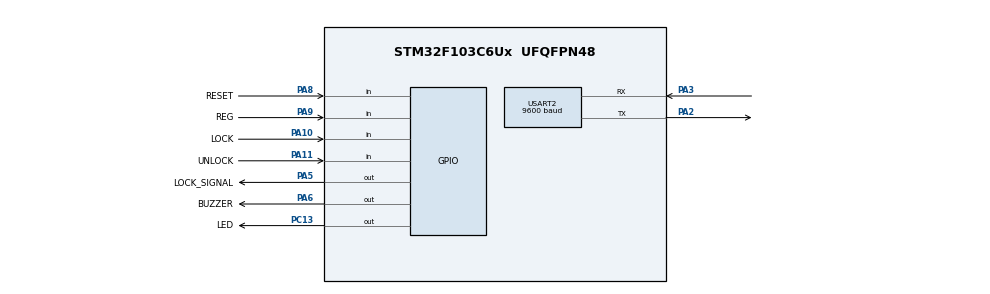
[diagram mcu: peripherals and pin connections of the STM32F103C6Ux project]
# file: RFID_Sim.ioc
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Mcu.Family=STM32F1
Mcu.Name=STM32F103C6Ux
Mcu.Package=UFQFPN48
NVIC.PriorityGroup=NVIC_PRIORITYGROUP_4
NVIC.TIM2_IRQn=true\:0\:0\:false\:false\:true\:true\:true\:true
NVIC.USART2_IRQn=true\:0\:0\:false\:false\:true\:true\:true\:true
PA10.GPIO_Label=LOCK
PA10.GPIO_PuPd=GPIO_PULLUP
PA10.Signal=GPIO_Input
PA11.GPIO_Label=UNLOCK
PA11.GPIO_PuPd=GPIO_PULLUP
PA11.Signal=GPIO_Input
PA2.Mode=Asynchronous
PA2.Signal=USART2_TX
PA3.Mode=Asynchronous
PA3.Signal=USART2_RX
PA5.GPIO_Label=LOCK_SIGNAL
PA5.GPIO_PuPd=GPIO_PULLDOWN
PA5.Signal=GPIO_Output
PA6.GPIO_Label=BUZZER
PA6.GPIO_PuPd=GPIO_NOPULL
PA6.Signal=GPIO_Output
PA8.GPIO_Label=RESET
PA8.GPIO_PuPd=GPIO_PULLUP
PA8.Signal=GPIO_Input
PA9.GPIO_Label=REG
PA9.GPIO_PuPd=GPIO_PULLUP
PA9.Signal=GPIO_Input
PC13-TAMPER-RTC.GPIO_Label=LED
PC13-TAMPER-RTC.Signal=GPIO_Output
ProjectManager.HeapSize=0x200
ProjectManager.StackSize=0x400
ProjectManager.TargetToolchain=STM32CubeIDE
RCC.APB1Freq_Value=8000000
RCC.APB2Freq_Value=8000000
TIM2.Period=9
TIM2.Prescaler=7999
USART2.BaudRate=9600
USART2.VirtualMode=VM_ASYNC
VP_SYS_VS_ND.Mode=No_Debug
VP_TIM2_VS_ClockSourceINT.Mode=Internal
board=custom

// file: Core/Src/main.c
/* USER CODE BEGIN Header */
/**
  ******************************************************************************
  * @file           : main.c
  * @brief          : Main program body
  ******************************************************************************
  * @attention
  *
  * <h2><center>&copy; Copyright (c) 2022 STMicroelectronics.
  * All rights reserved.</center></h2>
  *
  * This software component is licensed by ST under BSD 3-Clause license,
  * the "License"; You may not use this file except in compliance with the
  * License. You may obtain a copy of the License at:
  *                        opensource.org/licenses/BSD-3-Clause
  *
  ******************************************************************************
  */
/* USER CODE END Header */
#include "main.h"

/* USER CODE BEGIN Includes */
#include "button.h"
#include "software_timer.h"
#include "global.h"
#include "fsm.h"
#include "memory_struct.h"
#include "stdio.h"
#include "blinking_led.h"
/* USER CODE END Includes */

TIM_HandleTypeDef htim2;

UART_HandleTypeDef huart2;

/* USER CODE BEGIN PV */
uint8_t str[5];
uint8_t flagForReceive=0;
/* USER CODE END PV */

void SystemClock_Config(void);
static void MX_GPIO_Init(void);
static void MX_TIM2_Init(void);
static void MX_USART2_UART_Init(void);

/* USER CODE BEGIN 0 */
void HAL_UART_RxCpltCallback ( UART_HandleTypeDef * huart ){
	if(huart -> Instance == USART2 ){
		duplicateID(CARD_BUF, str);
		uint8_t print[50];
		HAL_UART_Transmit(&huart2, (void*)print, sprintf(print, "%s\r\n", str), 1000);
		flagForReceive=1;
		HAL_UART_Receive_IT(&huart2, str, 5);
	}
}
/* USER CODE END 0 */

int main(void)
{
  /* USER CODE BEGIN 1 */
	uint8_t str[50];
  /* USER CODE END 1 */

  /* MCU Configuration--------------------------------------------------------*/

  /* Reset of all peripherals, Initializes the Flash interface and the Systick. */
  HAL_Init();

  /* Configure the system clock */
  SystemClock_Config();

  /* Initialize all configured peripherals */
  MX_GPIO_Init();
  MX_TIM2_Init();
  MX_USART2_UART_Init();
  /* USER CODE BEGIN 2 */
  HAL_TIM_Base_Start_IT(&htim2);
  reset_buffer();
  HAL_UART_Receive_IT(&huart2, &str, 5);

  /* USER CODE END 2 */

  /* Infinite loop */
  /* USER CODE BEGIN WHILE */
  while (1)
  {
	  fsm_run();
    /* USER CODE END WHILE */

  }
}

void SystemClock_Config(void)
{
  RCC_OscInitTypeDef RCC_OscInitStruct = {0};
  RCC_ClkInitTypeDef RCC_ClkInitStruct = {0};

  /** Initializes the RCC Oscillators according to the specified parameters
  * in the RCC_OscInitTypeDef structure.
  */
  RCC_OscInitStruct.OscillatorType = RCC_OSCILLATORTYPE_HSI;
  RCC_OscInitStruct.HSIState = RCC_HSI_ON;
  RCC_OscInitStruct.HSICalibrationValue = RCC_HSICALIBRATION_DEFAULT;
  RCC_OscInitStruct.PLL.PLLState = RCC_PLL_NONE;
  if (HAL_RCC_OscConfig(&RCC_OscInitStruct) != HAL_OK)
  {
    Error_Handler();
  }

  /** Initializes the CPU, AHB and APB buses clocks
  */
  RCC_ClkInitStruct.ClockType = RCC_CLOCKTYPE_HCLK|RCC_CLOCKTYPE_SYSCLK
                              |RCC_CLOCKTYPE_PCLK1|RCC_CLOCKTYPE_PCLK2;
  RCC_ClkInitStruct.SYSCLKSource = RCC_SYSCLKSOURCE_HSI;
  RCC_ClkInitStruct.AHBCLKDivider = RCC_SYSCLK_DIV1;
  RCC_ClkInitStruct.APB1CLKDivider = RCC_HCLK_DIV1;
  RCC_ClkInitStruct.APB2CLKDivider = RCC_HCLK_DIV1;

  if (HAL_RCC_ClockConfig(&RCC_ClkInitStruct, FLASH_LATENCY_0) != HAL_OK)
  {
    Error_Handler();
  }
}

static void MX_TIM2_Init(void)
{

  TIM_ClockConfigTypeDef sClockSourceConfig = {0};
  TIM_MasterConfigTypeDef sMasterConfig = {0};

  htim2.Instance = TIM2;
  htim2.Init.Prescaler = 7999;
  htim2.Init.CounterMode = TIM_COUNTERMODE_UP;
  htim2.Init.Period = 9;
  htim2.Init.ClockDivision = TIM_CLOCKDIVISION_DIV1;
  htim2.Init.AutoReloadPreload = TIM_AUTORELOAD_PRELOAD_DISABLE;
  if (HAL_TIM_Base_Init(&htim2) != HAL_OK)
  {
    Error_Handler();
  }
  sClockSourceConfig.ClockSource = TIM_CLOCKSOURCE_INTERNAL;
  if (HAL_TIM_ConfigClockSource(&htim2, &sClockSourceConfig) != HAL_OK)
  {
    Error_Handler();
  }
  sMasterConfig.MasterOutputTrigger = TIM_TRGO_RESET;
  sMasterConfig.MasterSlaveMode = TIM_MASTERSLAVEMODE_DISABLE;
  if (HAL_TIMEx_MasterConfigSynchronization(&htim2, &sMasterConfig) != HAL_OK)
  {
    Error_Handler();
  }

}

static void MX_USART2_UART_Init(void)
{

  huart2.Instance = USART2;
  huart2.Init.BaudRate = 9600;
  huart2.Init.WordLength = UART_WORDLENGTH_8B;
  huart2.Init.StopBits = UART_STOPBITS_1;
  huart2.Init.Parity = UART_PARITY_NONE;
  huart2.Init.Mode = UART_MODE_TX_RX;
  huart2.Init.HwFlowCtl = UART_HWCONTROL_NONE;
  huart2.Init.OverSampling = UART_OVERSAMPLING_16;
  if (HAL_UART_Init(&huart2) != HAL_OK)
  {
    Error_Handler();
  }

}

static void MX_GPIO_Init(void)
{
  GPIO_InitTypeDef GPIO_InitStruct = {0};

  /* GPIO Ports Clock Enable */
  __HAL_RCC_GPIOC_CLK_ENABLE();
  __HAL_RCC_GPIOA_CLK_ENABLE();

  /*Configure GPIO pin Output Level */
  HAL_GPIO_WritePin(LED_GPIO_Port, LED_Pin, GPIO_PIN_RESET);

  /*Configure GPIO pin Output Level */
  HAL_GPIO_WritePin(GPIOA, LOCK_SIGNAL_Pin|BUZZER_Pin, GPIO_PIN_RESET);

  /*Configure GPIO pin : LED_Pin */
  GPIO_InitStruct.Pin = LED_Pin;
  GPIO_InitStruct.Mode = GPIO_MODE_OUTPUT_PP;
  GPIO_InitStruct.Pull = GPIO_NOPULL;
  GPIO_InitStruct.Speed = GPIO_SPEED_FREQ_LOW;
  HAL_GPIO_Init(LED_GPIO_Port, &GPIO_InitStruct);

  /*Configure GPIO pin : LOCK_SIGNAL_Pin */
  GPIO_InitStruct.Pin = LOCK_SIGNAL_Pin;
  GPIO_InitStruct.Mode = GPIO_MODE_OUTPUT_PP;
  GPIO_InitStruct.Pull = GPIO_PULLDOWN;
  GPIO_InitStruct.Speed = GPIO_SPEED_FREQ_LOW;
  HAL_GPIO_Init(LOCK_SIGNAL_GPIO_Port, &GPIO_InitStruct);

  /*Configure GPIO pin : BUZZER_Pin */
  GPIO_InitStruct.Pin = BUZZER_Pin;
  GPIO_InitStruct.Mode = GPIO_MODE_OUTPUT_PP;
  GPIO_InitStruct.Pull = GPIO_NOPULL;
  GPIO_InitStruct.Speed = GPIO_SPEED_FREQ_LOW;
  HAL_GPIO_Init(BUZZER_GPIO_Port, &GPIO_InitStruct);

  /*Configure GPIO pins : RESET_Pin REG_Pin LOCK_Pin UNLOCK_Pin */
  GPIO_InitStruct.Pin = RESET_Pin|REG_Pin|LOCK_Pin|UNLOCK_Pin;
  GPIO_InitStruct.Mode = GPIO_MODE_INPUT;
  GPIO_InitStruct.Pull = GPIO_PULLUP;
  HAL_GPIO_Init(GPIOA, &GPIO_InitStruct);

}

/* USER CODE BEGIN 4 */
void HAL_TIM_PeriodElapsedCallback(TIM_HandleTypeDef *htim) {
	timeRun();
	button_reading();
}
/* USER CODE END 4 */

void Error_Handler(void)
{
  __disable_irq();
  while (1)
  {
  }
}
